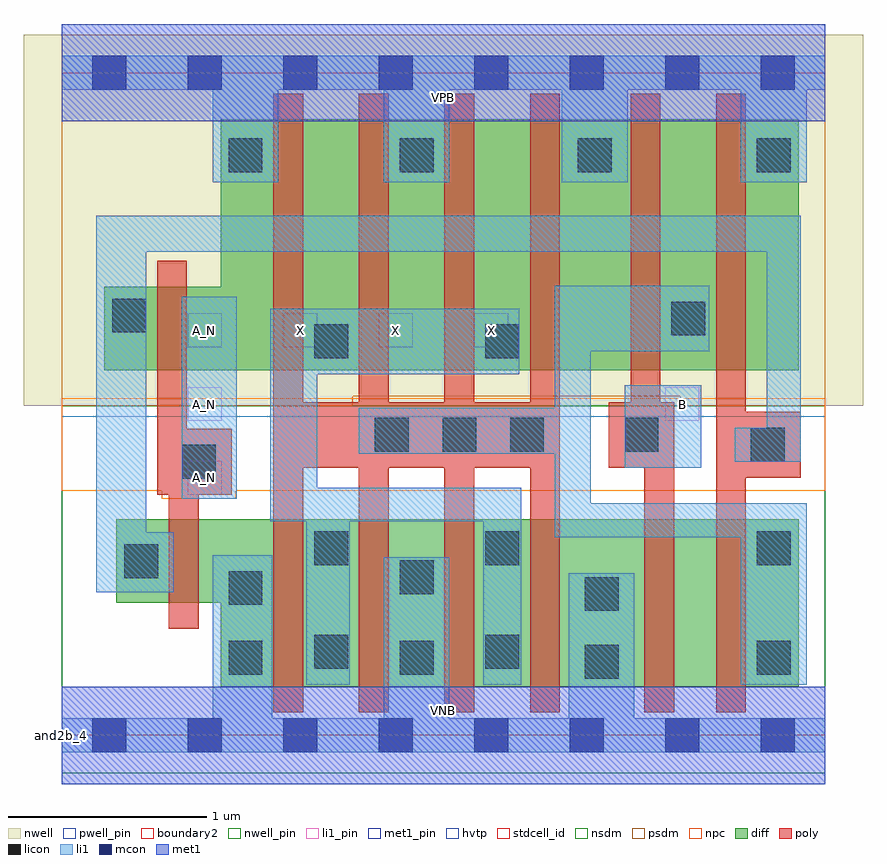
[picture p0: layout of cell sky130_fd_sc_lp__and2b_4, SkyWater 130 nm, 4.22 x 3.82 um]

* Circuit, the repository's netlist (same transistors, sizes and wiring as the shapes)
* Copyright 2020 The SkyWater PDK Authors
*
* Licensed under the Apache License, Version 2.0 (the "License");
* you may not use this file except in compliance with the License.
* You may obtain a copy of the License at
*
*     https://www.apache.org/licenses/LICENSE-2.0
*
* Unless required by applicable law or agreed to in writing, software
* distributed under the License is distributed on an "AS IS" BASIS,
* WITHOUT WARRANTIES OR CONDITIONS OF ANY KIND, either express or implied.
* See the License for the specific language governing permissions and
* limitations under the License.
*
* SPDX-License-Identifier: Apache-2.0

.SUBCKT sky130_fd_sc_lp__and2b_4 A_N B VGND VNB VPB VPWR X
*.PININFO A_N:I B:I VGND:I VNB:I VPB:I VPWR:I X:O
MMP0 y A VPWR VPB sky130_fd_pr__pfet_01v8_hvt m=1 w=1.26U l=0.15U mult=1 sa=0.265
+ sb=0.265 sd=0.28 area=0.063 perim=1.14
MMP1 y B VPWR VPB sky130_fd_pr__pfet_01v8_hvt m=1 w=1.26U l=0.15U mult=1 sa=0.265
+ sb=0.265 sd=0.28 area=0.063 perim=1.14
MMIP0 A A_N VPWR VPB sky130_fd_pr__pfet_01v8_hvt m=1 w=0.42U l=0.15U mult=1 sa=0.265
+ sb=0.265 sd=0.28 area=0.063 perim=1.14
MMIP1 X y VPWR VPB sky130_fd_pr__pfet_01v8_hvt m=4 w=1.26U l=0.15U mult=1 sa=0.265
+ sb=0.265 sd=0.28 area=0.063 perim=1.14
MMN0 y A sndA VNB sky130_fd_pr__nfet_01v8 m=1 w=0.84U l=0.15U mult=1 sa=0.265 sb=0.265
+ sd=0.28 area=0.063 perim=1.14
MMN1 sndA B VGND VNB sky130_fd_pr__nfet_01v8 m=1 w=0.84U l=0.15U mult=1 sa=0.265
+ sb=0.265 sd=0.28 area=0.063 perim=1.14
MMIN0 A A_N VGND VNB sky130_fd_pr__nfet_01v8 m=1 w=0.42U l=0.15U mult=1 sa=0.265
+ sb=0.265 sd=0.28 area=0.063 perim=1.14
MMIN1 X y VGND VNB sky130_fd_pr__nfet_01v8 m=4 w=0.84U l=0.15U mult=1 sa=0.265
+ sb=0.265 sd=0.28 area=0.063 perim=1.14
.ENDS sky130_fd_sc_lp__and2b_4

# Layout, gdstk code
import gdstk
lib = gdstk.Library(unit=1e-6, precision=1e-09)
def R(c, l, rs):  # rectangles x0, y0, x1, y1
    for r in rs: c.add(gdstk.rectangle(r[:2], r[2:], *l))
def A(c, l, x, y, w, h, nx, ny, dx, dy):  # array of equal rectangles
    R(c, l, [(x+i*dx, y+j*dy, x+i*dx+w, y+j*dy+h) for i in range(nx) for j in range(ny)])
def P(c, l, *ps):  # polygons
    for p in ps: c.add(gdstk.Polygon(p, *l))
nwell_pin = (64, 16)
nwell = (64, 20)
diff = (65, 20)
poly = (66, 20)
licon = (66, 44)
li1_pin = (67, 16)
li1 = (67, 20)
mcon = (67, 44)
met1_pin = (68, 16)
met1 = (68, 20)
hvtp = (78, 44)
stdcell_id = (81, 4)
nsdm = (93, 44)
psdm = (94, 20)
npc = (95, 20)
pwell_pin = (122, 16)
boundary2 = (236, 0)

sky130_fd_sc_lp__and2b_4 = lib.new_cell('sky130_fd_sc_lp__and2b_4')
R(sky130_fd_sc_lp__and2b_4, nwell_pin, [(0,3.085,3.84,3.33)])
R(sky130_fd_sc_lp__and2b_4, nwell, [(-0.19,1.655,4.03,3.52)])
P(sky130_fd_sc_lp__and2b_4, diff, [(3.705,3.095),(0.8,3.095),(0.8,2.255),(0.215,2.255),(0.215,1.835),(3.705,1.835)],
  [(3.705,1.085),(0.275,1.085),(0.275,0.665),(0.8,0.665),(0.8,0.245),(3.705,0.245)])
P(sky130_fd_sc_lp__and2b_4, poly, [(0.855,1.54),(0.63,1.54),(0.63,2.385),(0.48,2.385),(0.48,1.21),(0.54,1.21),(0.54,0.535),(0.69,0.535),(0.69,1.21),(0.855,1.21)],
  [(2.505,3.225),(2.355,3.225),(2.355,1.675),(2.075,1.675),(2.075,3.225),(1.925,3.225),(1.925,1.675),(1.645,1.675),(1.645,3.225),(1.495,3.225),(1.495,1.675),(1.215,1.675),(1.215,3.225),(1.065,3.225),(1.065,0.115),(1.215,0.115),(1.215,1.345),(1.495,1.345),(1.495,0.115),(1.645,0.115),(1.645,1.345),(1.925,1.345),(1.925,0.115),(2.075,0.115),(2.075,1.345),(2.355,1.345),(2.355,0.115),(2.505,0.115)],
  [(3.08,1.675),(3.01,1.675),(3.01,3.225),(2.86,3.225),(2.86,1.675),(2.75,1.675),(2.75,1.345),(2.93,1.345),(2.93,0.115),(3.08,0.115)],
  [(3.715,1.625),(3.44,1.625),(3.44,3.225),(3.29,3.225),(3.29,0.115),(3.44,0.115),(3.44,1.295),(3.715,1.295)])
A(sky130_fd_sc_lp__and2b_4, licon, 1.575, 1.425, 0.17, 0.17, 3, 1, 0.34, 0)
R(sky130_fd_sc_lp__and2b_4, licon, [(2.63,0.285,2.8,0.455), (0.84,0.305,1.01,0.475), (1.7,0.305,1.87,0.475), (3.495,0.305,3.665,0.475), (1.27,0.335,1.44,0.505), (2.13,0.335,2.3,0.505), (2.63,0.625,2.8,0.795), (0.84,0.655,1.01,0.825), (1.7,0.71,1.87,0.88), (0.315,0.79,0.485,0.96), (1.27,0.855,1.44,1.025), (2.13,0.855,2.3,1.025), (3.495,0.855,3.665,1.025), (0.605,1.29,0.775,1.46), (3.465,1.375,3.635,1.545), (2.83,1.425,3,1.595), (1.27,1.895,1.44,2.065), (2.13,1.895,2.3,2.065), (3.065,2.01,3.235,2.18), (0.255,2.025,0.425,2.195), (0.84,2.83,1.01,3), (1.7,2.83,1.87,3), (2.595,2.83,2.765,3), (3.495,2.83,3.665,3)])
A(sky130_fd_sc_lp__and2b_4, li1_pin, 0.635, 1.95, 0.17, 0.17, 4, 1, 0.48, 0)
R(sky130_fd_sc_lp__and2b_4, li1_pin, [(0.635,1.21,0.805,1.38), (0.635,1.58,0.805,1.75), (3.035,1.58,3.205,1.75)])
R(sky130_fd_sc_lp__and2b_4, li1, [(0.605,1.19,0.88,2.205), (2.83,1.345,3.215,1.76)])
P(sky130_fd_sc_lp__and2b_4, li1, [(0.76,2.78),(0.76,3.245),(0,3.245),(0,3.415),(3.84,3.415),(3.84,3.245),(3.745,3.245),(3.745,2.78),(3.415,2.78),(3.415,3.245),(2.845,3.245),(2.845,2.78),(2.515,2.78),(2.515,3.245),(1.95,3.245),(1.95,2.78),(1.62,2.78),(1.62,3.245),(1.09,3.245),(1.09,2.78)],
  [(2.55,0.085),(2.55,0.815),(2.88,0.815),(2.88,0.085),(3.84,0.085),(3.84,-0.085),(0,-0.085),(0,0.085),(0.76,0.085),(0.76,0.905),(1.06,0.905),(1.06,0.085),(1.62,0.085),(1.62,0.895),(1.95,0.895),(1.95,0.085)],
  [(2.48,0.995),(2.48,1.415),(1.495,1.415),(1.495,1.645),(2.48,1.645),(2.48,2.26),(3.255,2.26),(3.255,1.93),(2.66,1.93),(2.66,1.165),(3.745,1.165),(3.745,0.255),(3.415,0.255),(3.415,0.995)],
  [(3.715,2.61),(3.715,1.375),(3.385,1.375),(3.385,1.545),(3.545,1.545),(3.545,2.43),(0.425,2.43),(0.425,1.02),(0.565,1.02),(0.565,0.72),(0.175,0.72),(0.175,2.61)],
  [(1.05,2.145),(2.3,2.145),(2.3,1.815),(1.285,1.815),(1.285,1.245),(2.31,1.245),(2.31,0.255),(2.12,0.255),(2.12,1.075),(1.45,1.075),(1.45,0.255),(1.23,0.255),(1.23,1.075),(1.05,1.075)])
A(sky130_fd_sc_lp__and2b_4, mcon, 0.155, -0.085, 0.17, 0.17, 8, 2, 0.48, 3.33)
R(sky130_fd_sc_lp__and2b_4, met1_pin, [(0,0,3.84,0.245), (0,3.085,3.84,3.33)])
R(sky130_fd_sc_lp__and2b_4, met1, [(0,-0.245,3.84,0.245), (0,3.085,3.84,3.575)])
R(sky130_fd_sc_lp__and2b_4, hvtp, [(0,1.6,3.84,3.33)])
R(sky130_fd_sc_lp__and2b_4, stdcell_id, [(0,0,3.84,3.33)])
R(sky130_fd_sc_lp__and2b_4, nsdm, [(0,-0.19,3.84,1.655)])
P(sky130_fd_sc_lp__and2b_4, psdm, [(3.84,3.52),(0,3.52),(0,1.655),(1.465,1.655),(1.465,1.705),(3.11,1.705),(3.11,1.655),(3.84,1.655)])
P(sky130_fd_sc_lp__and2b_4, npc, [(3.84,1.695),(0,1.695),(0,1.23),(0.505,1.23),(0.505,1.19),(0.875,1.19),(0.875,1.23),(3.84,1.23)])
R(sky130_fd_sc_lp__and2b_4, pwell_pin, [(0,0,3.84,0.245)])
R(sky130_fd_sc_lp__and2b_4, boundary2, [(0,0,3.84,3.33)])
sky130_fd_sc_lp__and2b_4.add(gdstk.Label('VNB', (1.92,0.123), layer=64, texttype=59))
sky130_fd_sc_lp__and2b_4.add(gdstk.Label('VPB', (1.92,3.208), layer=64, texttype=5))
sky130_fd_sc_lp__and2b_4.add(gdstk.Label('and2b_4', (0,0), layer=83, texttype=44))
sky130_fd_sc_lp__and2b_4.add(gdstk.Label('VPWR', (1.92,3.208), layer=68, texttype=5))
sky130_fd_sc_lp__and2b_4.add(gdstk.Label('VGND', (1.92,0.123), layer=68, texttype=5))
sky130_fd_sc_lp__and2b_4.add(gdstk.Label('B', (3.12,1.665), layer=67, texttype=5))
sky130_fd_sc_lp__and2b_4.add(gdstk.Label('A_N', (0.72,1.295), layer=67, texttype=5))
sky130_fd_sc_lp__and2b_4.add(gdstk.Label('A_N', (0.72,1.665), layer=67, texttype=5))
sky130_fd_sc_lp__and2b_4.add(gdstk.Label('A_N', (0.72,2.035), layer=67, texttype=5))
sky130_fd_sc_lp__and2b_4.add(gdstk.Label('X', (1.2,2.035), layer=67, texttype=5))
sky130_fd_sc_lp__and2b_4.add(gdstk.Label('X', (1.68,2.035), layer=67, texttype=5))
sky130_fd_sc_lp__and2b_4.add(gdstk.Label('X', (2.16,2.035), layer=67, texttype=5))

lib.write_gds('sky130_fd_sc_lp__and2b_4.gds')
